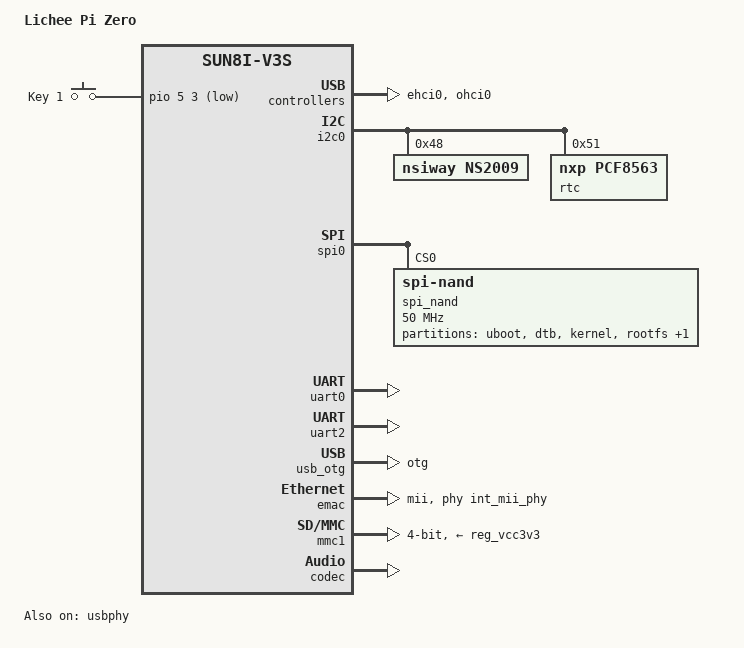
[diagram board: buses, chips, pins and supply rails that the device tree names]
/*
 * Copyright (C) 2016 Icenowy Zheng <icenowy@aosc.xyz>
 *
 * This file is dual-licensed: you can use it either under the terms
 * of the GPL or the X11 license, at your option. Note that this dual
 * licensing only applies to this file, and not this project as a
 * whole.
 *
 *  a) This file is free software; you can redistribute it and/or
 *     modify it under the terms of the GNU General Public License as
 *     published by the Free Software Foundation; either version 2 of the
 *     License, or (at your option) any later version.
 *
 *     This file is distributed in the hope that it will be useful,
 *     but WITHOUT ANY WARRANTY; without even the implied warranty of
 *     MERCHANTABILITY or FITNESS FOR A PARTICULAR PURPOSE.  See the
 *     GNU General Public License for more details.
 *
 * Or, alternatively,
 *
 *  b) Permission is hereby granted, free of charge, to any person
 *     obtaining a copy of this software and associated documentation
 *     files (the "Software"), to deal in the Software without
 *     restriction, including without limitation the rights to use,
 *     copy, modify, merge, publish, distribute, sublicense, and/or
 *     sell copies of the Software, and to permit persons to whom the
 *     Software is furnished to do so, subject to the following
 *     conditions:
 *
 *     The above copyright notice and this permission notice shall be
 *     included in all copies or substantial portions of the Software.
 *
 *     THE SOFTWARE IS PROVIDED "AS IS", WITHOUT WARRANTY OF ANY KIND,
 *     EXPRESS OR IMPLIED, INCLUDING BUT NOT LIMITED TO THE WARRANTIES
 *     OF MERCHANTABILITY, FITNESS FOR A PARTICULAR PURPOSE AND
 *     NONINFRINGEMENT. IN NO EVENT SHALL THE AUTHORS OR COPYRIGHT
 *     HOLDERS BE LIABLE FOR ANY CLAIM, DAMAGES OR OTHER LIABILITY,
 *     WHETHER IN AN ACTION OF CONTRACT, TORT OR OTHERWISE, ARISING
 *     FROM, OUT OF OR IN CONNECTION WITH THE SOFTWARE OR THE USE OR
 *     OTHER DEALINGS IN THE SOFTWARE.
 */

/dts-v1/;
#include "sun8i-v3s.dtsi"
#include "sunxi-common-regulators.dtsi"
#include <dt-bindings/input/input.h>

/ {
	model = "Lichee Pi Zero";
	compatible = "licheepi,licheepi-zero", "allwinner,sun8i-v3s";

	aliases {
		serial0 = &uart0;
		ethernet0 = &emac;
	};

	chosen {
		//stdout-path = "serial0:115200n8";
		//bootargs = "console=ttyS0,115200 earlyprintk panic=5 rootwait mtdparts=spi0.0:1M(uboot)ro,128k(dtb)ro,5M(kernel)ro,80M(rootfs),30M(data) ubi.mtd=3 root=ubi0:rootfs rw rootfstype=ubifs";
		bootargs = "console=ttyS0,115200 earlyprintk panic=5 rootwait mtdparts=spi0.0:1M(uboot)ro,128k(dtb)ro,5M(kernel)ro,58M(rootfs),180M(data) ubi.mtd=3 root=ubi0:rootfs rw rootfstype=ubifs";

	};

	leds {
		compatible = "gpio-leds";
		//status = "okay";
		status = "disabled";

		v3s_led {
			label = "v3s_led";
			gpios = <&pio 1 4 GPIO_ACTIVE_LOW>; /* PG1 */
		};

		//blue_led {
		//	label = "licheepi:blue:usr";
		//	gpios = <&pio 6 1 GPIO_ACTIVE_LOW>; /* PG1 */
		//};

		//green_led {
		//	label = "licheepi:green:usr";
		//	gpios = <&pio 6 0 GPIO_ACTIVE_LOW>; /* PG0 */
		//	default-state = "on";
		//};

		//red_led {
		//	label = "licheepi:red:usr";
		//	gpios = <&pio 6 2 GPIO_ACTIVE_LOW>; /* PG2 */
		//};
	};
	
	gpio_keys {
        	compatible = "gpio-keys-polled";
        	pinctrl-names = "default";
        	//pinctrl-0 = <&key_pins>;
        	#address-cells = <1>;
        	#size-cells = <0>;
		poll-interval = <20>;
        	autorepeat;
        	button@0 {
                	label = "Key 1";
                	linux,code = <KEY_1>;
                	gpios = <&pio 5 3 GPIO_ACTIVE_LOW>; 
        	};
	};
	
};

&ehci0 {
	status = "okay";
};

/*&mmc0 {
	broken-cd;
	bus-width = <4>;
	vmmc-supply = <&reg_vcc3v3>;
	status = "okay";
};*/

&i2c0 {
	status = "okay";

	ns2009: ns2009@48 {
		compatible = "nsiway,ns2009";
		reg = <0x48>;
	};
	
	rtc@51 {
        	compatible = "nxp,pcf8563";
        	reg = <0x51>;
    	};
};

&spi0 {
	status ="okay";
	
	spi_nand: spi_nand@0 {
        #address-cells = <1>;
        #size-cells = <1>;
        compatible = "spi-nand";
        reg = <0>;
        spi-max-frequency = <50000000>;
 
		partition@0 {
			label = "uboot";
			reg = <0x0 0x100000>;
			read-only;
		};
 
		partition@100000 {
			label = "dtb";
			reg = <0x100000 0x20000>;
			read-only;
		};
 
		partition@120000 {
			label = "kernel";
			reg = <0x120000 0x500000>;
			read-only;
		};
 
		partition@620000 {
			label = "rootfs";
			reg = <0x620000 0x3A00000>;
		};
		
		partition@2E20000 {
			label = "data";
			reg = <0x4020000 0xB400000>;
		};
	};
};

&ohci0 {
	status = "okay";
};

&uart0 {
	pinctrl-0 = <&uart0_pb_pins>;
	pinctrl-names = "default";
	status = "okay";
};

&uart2 { 
	pinctrl-0 = <&uart2_pb_pins>;
	pinctrl-names = "default";
	status = "okay"; 
};

&usb_otg {
	dr_mode = "otg";
	status = "okay";
};

&usbphy {
	usb0_id_det-gpios = <&pio 5 6 GPIO_ACTIVE_HIGH>;
	status = "okay";
};

&emac {
        phy-handle = <&int_mii_phy>;
        phy-mode = "mii";
        allwinner,leds-active-low;
        status = "okay";
};

&mmc1 {
        broken-cd;
        bus-width = <4>;
        vmmc-supply = <&reg_vcc3v3>;
        status = "okay";
};

&codec {
        allwinner,audio-routing =
                "Headphone", "HP",
                "Headphone", "HPCOM",
                "MIC1", "Mic",
                "Mic",  "HBIAS";
        status = "okay";
};
